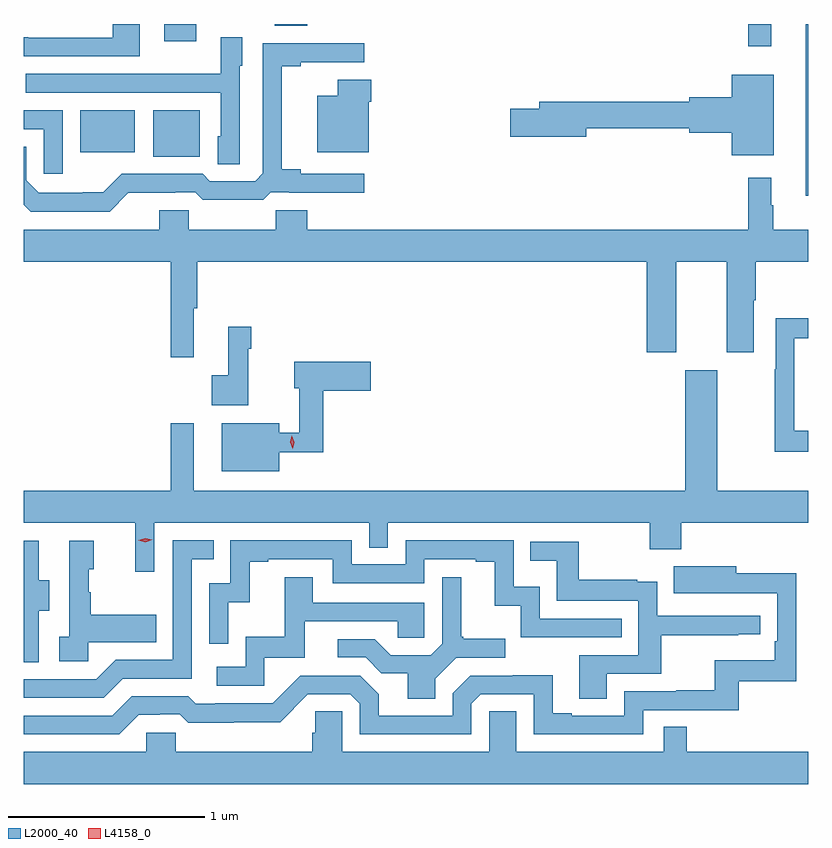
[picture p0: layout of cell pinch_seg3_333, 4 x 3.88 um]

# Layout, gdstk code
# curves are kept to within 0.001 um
import gdstk
lib = gdstk.Library(unit=1e-6, precision=1e-09)
def R(c, l, rs):  # rectangles x0, y0, x1, y1
    for r in rs: c.add(gdstk.rectangle(r[:2], r[2:], *l))
def P(c, l, *ps):  # polygons
    for p in ps: c.add(gdstk.Polygon(p, *l))
L2000_40 = (2000, 40)
L4158_0 = (4158, 0)

pinch_seg3_333 = lib.new_cell('pinch_seg3_333')
R(pinch_seg3_333, L2000_40, [(975.146,725.228,975.157,726.105), (971.816,725.429,972.055,725.665), (971.444,725.45,971.722,725.665), (974.851,725.991,974.969,726.105), (971.873,726.018,972.037,726.105), (972.437,726.096,972.601,726.105)])
P(pinch_seg3_333, L2000_40, [(971.749,726.105),(971.609,726.105),(971.609,726.036),(971.179,726.036),(971.179,726.038),(971.157,726.038),(971.157,725.94),(971.749,725.94)],
  [(972.258,725.892),(972.271,725.892),(972.271,726.037),(972.162,726.037),(972.162,725.851),(971.845,725.851),(971.845,725.85),(971.167,725.85),(971.167,725.754),(972.162,725.754),(972.162,725.532),(972.146,725.532),(972.146,725.389),(972.258,725.389)],
  [(971.69,725.243),(971.93,725.243),(971.93,725.247),(972.03,725.247),(972.07,725.208),(972.377,725.208),(972.417,725.247),(972.511,725.247),(972.511,725.243),(972.892,725.243),(972.892,725.34),(972.568,725.34),(972.568,725.363),(972.473,725.363),(972.473,725.89),(972.568,725.89),(972.568,725.91),(972.892,725.91),(972.892,726.006),(972.375,726.006),(972.375,725.343),(972.336,725.304),(972.105,725.304),(972.069,725.34),(971.655,725.34),(971.561,725.246),(971.456,725.246),(971.456,725.244),(971.232,725.244),(971.169,725.307),(971.169,725.478),(971.157,725.478),(971.157,725.183),(971.192,725.148),(971.595,725.148)],
  [(974.983,725.845),(974.768,725.845),(974.768,725.732),(974.552,725.732),(974.552,725.708),(973.787,725.708),(973.787,725.672),(973.638,725.672),(973.638,725.53),(974.026,725.53),(974.026,725.572),(974.552,725.572),(974.552,725.549),(974.768,725.549),(974.768,725.435),(974.983,725.435)],
  [(972.916,725.708),(972.929,725.708),(972.929,725.821),(972.758,725.821),(972.758,725.74),(972.653,725.74),(972.653,725.45),(972.916,725.45)],
  [(971.355,725.664),(971.157,725.664),(971.157,725.568),(971.259,725.568),(971.259,725.34),(971.355,725.34)],
  [(972.023,724.656),(972.041,724.656),(972.041,724.892),(974.333,724.892),(974.333,724.431),(974.485,724.431),(974.485,724.892),(974.741,724.892),(974.741,724.431),(974.881,724.431),(974.881,724.696),(974.889,724.696),(974.889,724.892),(975.157,724.892),(975.157,725.056),(974.98,725.056),(974.98,725.18),(974.968,725.18),(974.968,725.32),(974.851,725.32),(974.851,725.056),(972.602,725.056),(972.602,725.154),(972.442,725.154),(972.442,725.056),(971.997,725.056),(971.997,725.154),(971.846,725.154),(971.846,725.056),(971.157,725.056),(971.157,724.892),(971.905,724.892),(971.905,724.404),(972.023,724.404)],
  [(975.157,724.029),(975.087,724.029),(975.087,724.503),(975.157,724.503),(975.157,724.604),(974.991,724.604),(974.991,724.343),(974.986,724.343),(974.986,723.924),(975.157,723.924)],
  [(972.3,724.448),(972.317,724.448),(972.317,724.561),(972.2,724.561),(972.2,724.313),(972.114,724.313),(972.114,724.16),(972.3,724.16)],
  [(972.46,723.92),(972.683,723.92),(972.683,724.235),(972.925,724.235),(972.925,724.382),(972.536,724.382),(972.536,724.247),(972.562,724.247),(972.562,724.02),(972.46,724.02),(972.46,724.069),(972.167,724.069),(972.167,723.824),(972.46,723.824)],
  [(971.823,723.56),(972.918,723.56),(972.918,723.433),(973.014,723.433),(973.014,723.56),(974.35,723.56),(974.35,723.425),(974.51,723.425),(974.51,723.56),(975.157,723.56),(975.157,723.724),(974.695,723.724),(974.695,724.339),(974.531,724.339),(974.531,723.724),(972.022,723.724),(972.022,724.069),(971.905,724.069),(971.905,723.724),(971.157,723.724),(971.157,723.56),(971.726,723.56),(971.726,723.312),(971.823,723.312)],
  [(971.662,722.766),(972.012,722.766),(972.012,723.375),(972.125,723.375),(972.125,723.471),(971.916,723.471),(971.916,722.862),(971.625,722.862),(971.526,722.763),(971.157,722.763),(971.157,722.667),(971.563,722.667)],
  [(972.198,723.155),(972.308,723.155),(972.308,723.363),(972.403,723.363),(972.403,723.375),(972.732,723.375),(972.732,723.252),(973.2,723.252),(973.2,723.375),(973.463,723.375),(973.463,723.363),(973.559,723.363),(973.559,723.137),(973.692,723.137),(973.692,722.976),(974.207,722.976),(974.207,723.072),(973.788,723.072),(973.788,723.235),(973.656,723.235),(973.656,723.471),(973.104,723.471),(973.104,723.348),(972.828,723.348),(972.828,723.471),(972.21,723.471),(972.21,723.252),(972.102,723.252),(972.102,722.943),(972.198,722.943)],
  [(971.232,723.112),(971.287,723.112),(971.287,723.267),(971.233,723.267),(971.233,723.469),(971.157,723.469),(971.157,722.848),(971.232,722.848)],
  [(971.484,722.951),(971.831,722.951),(971.831,723.091),(971.497,723.091),(971.497,723.206),(971.487,723.206),(971.487,723.324),(971.512,723.324),(971.512,723.469),(971.388,723.469),(971.388,722.978),(971.337,722.978),(971.337,722.853),(971.484,722.853)],
  [(974.131,722.79),(974.408,722.79),(974.408,722.986),(974.801,722.986),(974.801,722.991),(974.914,722.991),(974.914,723.087),(974.388,723.087),(974.388,723.259),(974.285,723.259),(974.285,723.271),(973.987,723.271),(973.987,723.465),(973.741,723.465),(973.741,723.368),(973.876,723.368),(973.876,723.162),(974.292,723.162),(974.292,722.886),(973.991,722.886),(973.991,722.662),(974.131,722.662)],
  [(971.743,722.58),(971.85,722.58),(971.85,722.583),(971.953,722.583),(971.995,722.541),(972.228,722.541),(972.228,722.543),(972.464,722.543),(972.606,722.685),(972.822,722.685),(972.87,722.637),(972.87,722.481),(973.44,722.481),(973.44,722.637),(973.488,722.685),(973.758,722.685),(973.758,722.481),(974.316,722.481),(974.316,722.604),(974.803,722.604),(974.803,722.751),(975.096,722.751),(975.096,723.302),(974.791,723.302),(974.791,723.34),(974.473,723.34),(974.473,723.2),(975,723.201),(975,722.956),(974.987,722.956),(974.987,722.86),(974.682,722.86),(974.682,722.705),(974.485,722.705),(974.485,722.7),(974.22,722.7),(974.22,722.577),(973.951,722.577),(973.951,722.59),(973.855,722.59),(973.855,722.783),(973.65,722.783),(973.65,722.781),(973.434,722.781),(973.344,722.691),(973.344,722.577),(972.967,722.577),(972.967,722.687),(972.873,722.781),(972.567,722.781),(972.426,722.64),(972.133,722.64),(972.133,722.637),(972.034,722.637),(971.995,722.676),(971.706,722.676),(971.607,722.577),(971.157,722.577),(971.157,722.481),(971.644,722.481)],
  [(972.384,722.871),(972.589,722.871),(972.589,723.057),(973.063,723.057),(973.063,722.973),(973.2,722.973),(973.2,723.153),(972.631,723.153),(972.631,723.283),(972.487,723.283),(972.487,722.98),(972.288,722.98),(972.288,722.826),(972.141,722.826),(972.141,722.73),(972.384,722.73)],
  [(973.255,722.764),(973.362,722.871),(973.612,722.871),(973.612,722.968),(973.399,722.968),(973.399,722.98),(973.387,722.98),(973.387,723.283),(973.29,723.283),(973.29,722.943),(973.233,722.886),(973.027,722.886),(972.946,722.967),(972.759,722.967),(972.759,722.874),(972.9,722.874),(972.98,722.794),(973.115,722.794),(973.115,722.662),(973.255,722.662)],
  [(975.157,722.392),(974.537,722.392),(974.537,722.519),(974.421,722.519),(974.421,722.392),(973.669,722.392),(973.669,722.6),(973.53,722.6),(973.53,722.392),(972.78,722.392),(972.78,722.6),(972.643,722.6),(972.643,722.49),(972.629,722.49),(972.629,722.392),(971.931,722.392),(971.931,722.49),(971.781,722.49),(971.781,722.392),(971.157,722.392),(971.157,722.228),(975.157,722.228)])
P(pinch_seg3_333, L4158_0, [(972.527,723.938),(972.527,723.938),(972.515,723.971),(972.522,724.005),(972.522,724.005),(972.522,724.005),(972.535,723.972),(972.527,723.938)],
  [(971.776,723.462),(971.74,723.471),(971.74,723.472),(971.74,723.472),(971.776,723.482),(971.812,723.473),(971.812,723.473),(971.812,723.473)])

lib.write_gds('pinch_seg3_333.gds')
